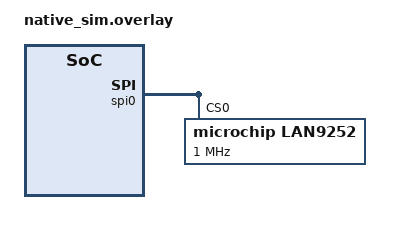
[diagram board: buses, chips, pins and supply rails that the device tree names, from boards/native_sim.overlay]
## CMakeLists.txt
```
# Copyright (c) 2026 Richard Osterloh
# SPDX-License-Identifier: Apache-2.0

cmake_minimum_required(VERSION 3.20.0)
find_package(Zephyr REQUIRED HINTS $ENV{ZEPHYR_BASE})
project(lan9252_driver_test)

target_sources(app PRIVATE src/main.c src/lan9252_emul.c)
```

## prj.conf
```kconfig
CONFIG_ZTEST=y
CONFIG_EMUL=y
CONFIG_SPI=y
CONFIG_LAN9252=y
```

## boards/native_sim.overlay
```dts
/*
 * Copyright (c) 2026 Richard Osterloh
 * SPDX-License-Identifier: Apache-2.0
 */

/ {
	aliases {
		lan9252-0 = &lan9252;
	};
};

&spi0 {
	lan9252: lan9252@0 {
		compatible = "microchip,lan9252";
		reg = <0>;
		spi-max-frequency = <1000000>;
		init-timeout-ms = <20>;
	};
};
```

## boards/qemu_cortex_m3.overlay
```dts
/*
 * Copyright (c) 2026 Richard Osterloh
 * SPDX-License-Identifier: Apache-2.0
 */

/ {
	aliases {
		lan9252-0 = &lan9252;
	};

	fake_spi: spi@200 {
		compatible = "zephyr,spi-emul-controller";
		reg = <0x200 4>;
		clock-frequency = <50000000>;
		#address-cells = <1>;
		#size-cells = <0>;
		status = "okay";

		lan9252: lan9252@0 {
			compatible = "microchip,lan9252";
			reg = <0>;
			spi-max-frequency = <1000000>;
			init-timeout-ms = <20>;
		};
	};
};
```

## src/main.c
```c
/*
 * Copyright (c) 2026 Richard Osterloh
 * SPDX-License-Identifier: Apache-2.0
 */

#include <errno.h>

#include <zephyr/device.h>
#include <zephyr/drivers/emul.h>
#include <zephyr/drivers/ethercat/lan9252.h>
#include <zephyr/ztest.h>

#include "lan9252_emul.h"

#define LAN9252_NODE DT_ALIAS(lan9252_0)

static const struct device *const lan9252 = DEVICE_DT_GET(LAN9252_NODE);
static const struct emul *const lan9252_emul = EMUL_DT_GET(LAN9252_NODE);

static void lan9252_after(void *fixture)
{
	ARG_UNUSED(fixture);

	lan9252_emul_set_csr_stuck_busy(lan9252_emul, false);
}

ZTEST_SUITE(lan9252_driver, NULL, NULL, NULL, lan9252_after, NULL);

ZTEST(lan9252_driver, test_device_ready_and_identity)
{
	struct lan9252_id id;
	uint32_t byte_test;

	zassert_true(device_is_ready(lan9252), "LAN9252 device is not ready");
	zassert_ok(lan9252_get_id(lan9252, &id), "get_id failed");
	zassert_equal(id.chip_id, LAN9252_CHIP_ID, "unexpected chip id");
	zassert_equal(id.revision, 0x0001, "unexpected revision");

	zassert_ok(lan9252_read_reg(lan9252, LAN9252_REG_BYTE_TEST, &byte_test),
		   "BYTE_TEST read failed");
	zassert_equal(byte_test, LAN9252_BYTE_TEST_VALUE, "unexpected BYTE_TEST");
}

ZTEST(lan9252_driver, test_direct_register_read_write)
{
	uint32_t value;

	zassert_ok(lan9252_write_reg(lan9252, LAN9252_REG_GPT_CFG, 0xa5a55a5a),
		   "GPT_CFG write failed");
	zassert_ok(lan9252_read_reg(lan9252, LAN9252_REG_GPT_CFG, &value), "GPT_CFG read failed");
	zassert_equal(value, 0xa5a55a5a, "direct register round trip mismatch");
}

ZTEST(lan9252_driver, test_burst_register_access_uses_dword_increment)
{
	uint32_t write_values[] = {0x11223344, 0x55667788};
	uint32_t read_values[ARRAY_SIZE(write_values)];

	zassert_ok(lan9252_write_regs(lan9252, LAN9252_REG_GPT_CFG, write_values,
				      ARRAY_SIZE(write_values)),
		   "burst write failed");
	zassert_ok(lan9252_read_regs(lan9252, LAN9252_REG_GPT_CFG, read_values,
				     ARRAY_SIZE(read_values)),
		   "burst read failed");
	zassert_mem_equal(read_values, write_values, sizeof(read_values),
			  "burst register round trip mismatch");
}

ZTEST(lan9252_driver, test_esc_csr_read_write)
{
	uint8_t write_value[] = {0xde, 0xad, 0xbe, 0xef};
	uint8_t read_value[sizeof(write_value)];

	zassert_ok(lan9252_write_esc_reg(lan9252, 0x0120, write_value, sizeof(write_value)),
		   "ESC write failed");
	zassert_ok(lan9252_read_esc_reg(lan9252, 0x0120, read_value, sizeof(read_value)),
		   "ESC read failed");
	zassert_mem_equal(read_value, write_value, sizeof(read_value),
			  "ESC register round trip mismatch");
}

ZTEST(lan9252_driver, test_esc_csr_rejects_invalid_size)
{
	uint8_t value[3];

	zassert_equal(lan9252_read_esc_reg(lan9252, 0x0000, value, sizeof(value)), -EINVAL,
		      "3-byte ESC read should be rejected");
	zassert_equal(lan9252_write_esc_reg(lan9252, 0x0000, value, sizeof(value)), -EINVAL,
		      "3-byte ESC write should be rejected");
}

ZTEST(lan9252_driver, test_esc_csr_byte_and_word_lanes)
{
	const uint8_t word[] = {0x34, 0x12};
	const uint8_t byte = 0x56;
	const uint8_t expected[] = {0x34, 0x12, 0x56, 0x00};
	const uint8_t zero[4] = {0};
	uint8_t dword[4];
	uint8_t readback_word[2];
	uint8_t readback_byte;

	zassert_ok(lan9252_write_esc_reg(lan9252, 0x0130, zero, sizeof(zero)), "clear failed");
	zassert_ok(lan9252_write_esc_reg(lan9252, 0x0130, word, sizeof(word)), "word write failed");
	zassert_ok(lan9252_write_esc_reg(lan9252, 0x0132, &byte, sizeof(byte)),
		   "byte write failed");

	zassert_ok(lan9252_read_esc_reg(lan9252, 0x0130, dword, sizeof(dword)),
		   "dword read failed");
	zassert_mem_equal(dword, expected, sizeof(dword), "sub-dword writes landed on wrong bytes");

	zassert_ok(lan9252_read_esc_reg(lan9252, 0x0130, readback_word, sizeof(readback_word)),
		   "word read failed");
	zassert_mem_equal(readback_word, word, sizeof(word), "word read mismatch");
	zassert_ok(lan9252_read_esc_reg(lan9252, 0x0132, &readback_byte, 1), "byte read failed");
	zassert_equal(readback_byte, byte, "byte read mismatch");
}

ZTEST(lan9252_driver, test_rejects_misaligned_addresses)
{
	uint8_t buf[4] = {0};
	uint32_t value;

	zassert_equal(lan9252_read_esc_reg(lan9252, 0x0121, buf, 2), -EINVAL,
		      "odd-address word ESC access should be rejected");
	zassert_equal(lan9252_write_esc_reg(lan9252, 0x0122, buf, 4), -EINVAL,
		      "non-dword-aligned dword ESC access should be rejected");
	zassert_equal(lan9252_read_reg(lan9252, LAN9252_REG_GPT_CFG + 2, &value), -EINVAL,
		      "unaligned System CSR read should be rejected");
}

ZTEST(lan9252_driver, test_burst_length_bounds)
{
	uint32_t values[9] = {0};

	zassert_equal(lan9252_read_regs(lan9252, LAN9252_REG_GPT_CFG, values, 0), -EINVAL,
		      "zero-length burst should be rejected");
	zassert_equal(lan9252_write_regs(lan9252, LAN9252_REG_GPT_CFG, values, ARRAY_SIZE(values)),
		      -EINVAL, "burst over 8 dwords should be rejected");
}

ZTEST(lan9252_driver, test_esc_csr_busy_timeout)
{
	uint8_t value[4];

	lan9252_emul_set_csr_stuck_busy(lan9252_emul, true);

	zassert_equal(lan9252_read_esc_reg(lan9252, 0x0120, value, sizeof(value)), -ETIMEDOUT,
		      "a CSR stuck busy should time out");
	zassert_equal(lan9252_write_esc_reg(lan9252, 0x0120, value, sizeof(value)), -ETIMEDOUT,
		      "a later access should time out waiting for the stuck CSR");

	lan9252_emul_set_csr_stuck_busy(lan9252_emul, false);

	zassert_ok(lan9252_read_esc_reg(lan9252, 0x0120, value, sizeof(value)),
		   "ESC access should recover once the CSR is idle");
}
```

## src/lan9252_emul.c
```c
/*
 * Copyright (c) 2026 Richard Osterloh
 * SPDX-License-Identifier: Apache-2.0
 */

#define DT_DRV_COMPAT microchip_lan9252

#include <errno.h>
#include <string.h>

#include <zephyr/device.h>
#include <zephyr/drivers/emul.h>
#include <zephyr/drivers/spi.h>
#include <zephyr/drivers/spi_emul.h>
#include <zephyr/sys/byteorder.h>
#include <zephyr/sys/util.h>

#include <zephyr/drivers/ethercat/lan9252.h>

#include "lan9252_emul.h"

#define LAN9252_SPI_READ          0x03
#define LAN9252_SPI_WRITE         0x02
#define LAN9252_SPI_ADDR_AUTO_INC BIT(14)
#define LAN9252_SPI_ADDR_MASK     GENMASK(13, 0)

#define LAN9252_EMUL_REG_COUNT 256
#define LAN9252_EMUL_ESC_SIZE  0x1000

struct lan9252_emul_data {
	uint32_t regs[LAN9252_EMUL_REG_COUNT];
	uint8_t esc[LAN9252_EMUL_ESC_SIZE];
	bool csr_stuck_busy;
};

static uint32_t *lan9252_emul_reg(struct lan9252_emul_data *data, uint16_t addr)
{
	if ((addr % sizeof(uint32_t)) != 0) {
		return NULL;
	}

	size_t index = addr / sizeof(uint32_t);

	if (index >= ARRAY_SIZE(data->regs)) {
		return NULL;
	}

	return &data->regs[index];
}

static uint32_t lan9252_emul_load_le(const uint8_t *bytes, size_t len)
{
	uint32_t value = 0;

	for (size_t i = 0; i < len; i++) {
		value |= (uint32_t)bytes[i] << (i * 8);
	}

	return value;
}

static void lan9252_emul_store_le(uint32_t value, uint8_t *bytes, size_t len)
{
	for (size_t i = 0; i < len; i++) {
		bytes[i] = (uint8_t)(value >> (i * 8));
	}
}

static void lan9252_emul_complete_csr_command(struct lan9252_emul_data *data, uint32_t command)
{
	uint16_t addr = command & GENMASK(15, 0);
	uint8_t size = FIELD_GET(GENMASK(18, 16), command);
	bool read = (command & BIT(30)) != 0;
	bool busy = (command & BIT(31)) != 0;
	uint32_t *csr_data = lan9252_emul_reg(data, LAN9252_REG_ECAT_CSR_DATA);
	uint32_t *csr_cmd = lan9252_emul_reg(data, LAN9252_REG_ECAT_CSR_CMD);

	if (!busy || csr_data == NULL || csr_cmd == NULL || size == 0 || size > sizeof(uint32_t) ||
	    addr + size > sizeof(data->esc)) {
		return;
	}

	if (data->csr_stuck_busy) {
		/* Leave BUSY set, as a wedged ESC would. */
		return;
	}

	if (read) {
		*csr_data = lan9252_emul_load_le(&data->esc[addr], size);
	} else {
		lan9252_emul_store_le(*csr_data, &data->esc[addr], size);
	}

	*csr_cmd = command & ~BIT(31);
}

static int lan9252_emul_copy_tx(const struct spi_buf_set *tx_bufs, uint8_t *tx, size_t tx_len)
{
	size_t offset = 0;

	if (tx_bufs == NULL) {
		return -EINVAL;
	}

	for (size_t i = 0; i < tx_bufs->count; i++) {
		const struct spi_buf *buf = &tx_bufs->buffers[i];

		if (buf->buf == NULL || offset + buf->len > tx_len) {
			return -EINVAL;
		}

		memcpy(&tx[offset], buf->buf, buf->len);
		offset += buf->len;
	}

	return (int)offset;
}

static int lan9252_emul_copy_rx(const struct spi_buf_set *rx_bufs, const uint8_t *rx, size_t rx_len)
{
	size_t offset = 0;

	if (rx_bufs == NULL) {
		return 0;
	}

	for (size_t i = 0; i < rx_bufs->count; i++) {
		const struct spi_buf *buf = &rx_bufs->buffers[i];

		if (buf->buf == NULL || offset + buf->len > rx_len) {
			return -EINVAL;
		}

		memcpy(buf->buf, &rx[offset], buf->len);
		offset += buf->len;
	}

	return 0;
}

static int lan9252_emul_io_spi(const struct emul *target, const struct spi_config *config,
			       const struct spi_buf_set *tx_bufs, const struct spi_buf_set *rx_bufs)
{
	ARG_UNUSED(config);

	struct lan9252_emul_data *data = target->data;
	uint8_t tx[64] = {0};
	uint8_t rx[64] = {0};
	int tx_len = lan9252_emul_copy_tx(tx_bufs, tx, sizeof(tx));

	if (tx_len < 3) {
		return -EINVAL;
	}

	uint16_t raw_addr = sys_get_be16(&tx[1]);
	uint16_t addr = raw_addr & LAN9252_SPI_ADDR_MASK;
	bool autoinc = (raw_addr & LAN9252_SPI_ADDR_AUTO_INC) != 0;
	size_t data_len = tx_len - 3;

	if ((data_len % sizeof(uint32_t)) != 0) {
		return -EINVAL;
	}

	for (size_t offset = 0; offset < data_len; offset += sizeof(uint32_t)) {
		uint16_t reg_addr = autoinc ? addr + offset : addr;
		uint32_t *reg = lan9252_emul_reg(data, reg_addr);

		if (reg == NULL) {
			return -EIO;
		}

		switch (tx[0]) {
		case LAN9252_SPI_READ:
			sys_put_le32(*reg, &rx[3 + offset]);
			break;
		case LAN9252_SPI_WRITE:
			*reg = sys_get_le32(&tx[3 + offset]);
			if (reg_addr == LAN9252_REG_ECAT_CSR_CMD) {
				lan9252_emul_complete_csr_command(data, *reg);
			}
			break;
		default:
			return -ENOTSUP;
		}
	}

	return lan9252_emul_copy_rx(rx_bufs, rx, sizeof(rx));
}

static int lan9252_emul_init(const struct emul *target, const struct device *parent)
{
	ARG_UNUSED(parent);

	struct lan9252_emul_data *data = target->data;

	memset(data, 0, sizeof(*data));
	*lan9252_emul_reg(data, LAN9252_REG_ID_REV) = (LAN9252_CHIP_ID << 16) | 0x0001;
	*lan9252_emul_reg(data, LAN9252_REG_BYTE_TEST) = LAN9252_BYTE_TEST_VALUE;
	*lan9252_emul_reg(data, LAN9252_REG_HW_CFG) = LAN9252_HW_CFG_READY;

	return 0;
}

void lan9252_emul_set_csr_stuck_busy(const struct emul *target, bool stuck)
{
	struct lan9252_emul_data *data = target->data;
	uint32_t *csr_cmd = lan9252_emul_reg(data, LAN9252_REG_ECAT_CSR_CMD);

	data->csr_stuck_busy = stuck;
	if (!stuck) {
		*csr_cmd &= ~BIT(31);
	}
}

static const struct spi_emul_api lan9252_emul_api = {
	.io = lan9252_emul_io_spi,
};

#define LAN9252_EMUL_DEFINE(inst)                                                                  \
	static struct lan9252_emul_data lan9252_emul_data_##inst;                                  \
	EMUL_DT_INST_DEFINE(inst, lan9252_emul_init, &lan9252_emul_data_##inst, NULL,              \
			    &lan9252_emul_api, NULL)

DT_INST_FOREACH_STATUS_OKAY(LAN9252_EMUL_DEFINE)
```

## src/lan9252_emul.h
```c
/*
 * Copyright (c) 2026 Richard Osterloh
 * SPDX-License-Identifier: Apache-2.0
 */

#ifndef LAN9252_EMUL_H_
#define LAN9252_EMUL_H_

#include <stdbool.h>

#include <zephyr/drivers/emul.h>

/* Keep ECAT_CSR_CMD.BUSY set after the next command; clearing also clears BUSY. */
void lan9252_emul_set_csr_stuck_busy(const struct emul *target, bool stuck);

#endif /* LAN9252_EMUL_H_ */
```
